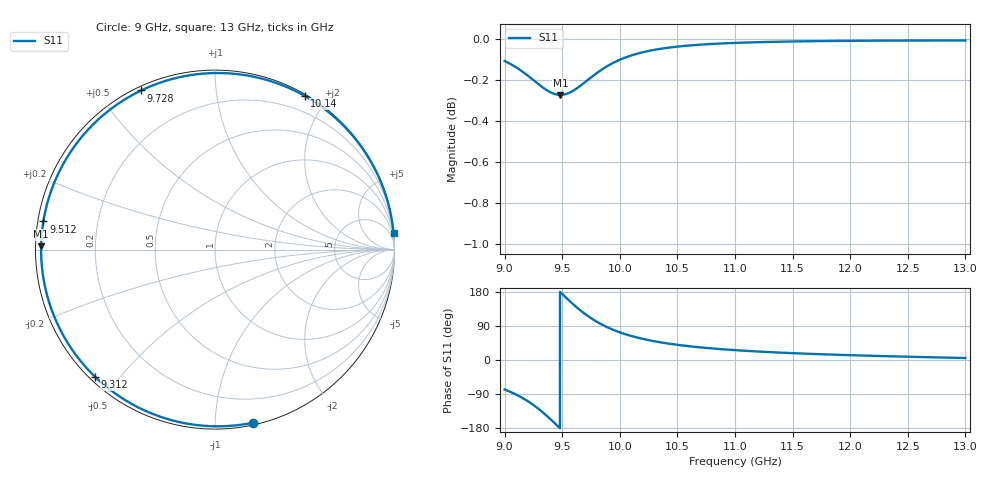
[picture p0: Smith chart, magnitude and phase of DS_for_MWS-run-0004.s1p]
! TOUCHSTONE file generated by CST DESIGN STUDIO
! Date and time: Tue Feb  4 12:34:23 2025
! Project name: C:\Work\MatlabApps\UnitCellOptimizationMatlab\CST\unitcell.cst
! Tree item: Tasks\Sweep1\SPara1\S-Parameters
! Header version: 2024
! Port assignment regex: !\s*Touchstone port\s*([0-9]+)\s*=\s*(CST MWS port|CST DES external port|CST DES block port)\s*(.+)\s* \(\"(.*)\"\)(\s*mode\s*([0-9]+))?.*
! Touchstone port assignment:
! Touchstone port 1 = CST DES external port 1 ("")
# GHz S MA R 50
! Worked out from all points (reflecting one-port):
!   4001 points, 9 GHz to 13 GHz, reference 50 ohm
!   lowest |S11| = -0.3 dB at 9.484 GHz (marker M1), VSWR 63.56, Z = 0.787 + j0.479 ohm
!   phase of S11 starts at -78 deg and turns -277 deg over the sweep
!   S11 on the Smith chart (normalised r, x): 9 GHz: 0.02, -1.24; 9.312 GHz: 0.02, -0.43; 9.512 GHz: 0.02, +0.08; 9.728 GHz: 0.02, +0.64; 10.14 GHz: 0.02, +1.74; 13 GHz: 0, +22
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9  0.9876 -77.7
9.079  0.9849 -88.1
9.178  0.9806 -104.3
9.247  0.9772 -118.1
9.312  0.974 -133.3
9.357  0.9719 -144.9
9.405  0.9702 -158.1
9.445  0.9693 -169.7
9.484  0.969 178.9
9.5  0.9691 174.2
9.512  0.9692 170.7
9.564  0.9702 155.7
9.624  0.9724 139.4
9.675  0.9748 126.8
9.728  0.9775 114.9
9.782  0.9801 104.2
9.843  0.9828 93.7
9.92  0.9858 82.5
10  0.9883 73.0
10.144  0.9915 59.8
10.305  0.9938 49.2
10.5  0.9955 40.1
10.722  0.9967 32.6
11  0.9976 26.0
11.5  0.9984 18.0
12  0.9988 12.7
12.5  0.9989 8.6
13  0.999 5.3
